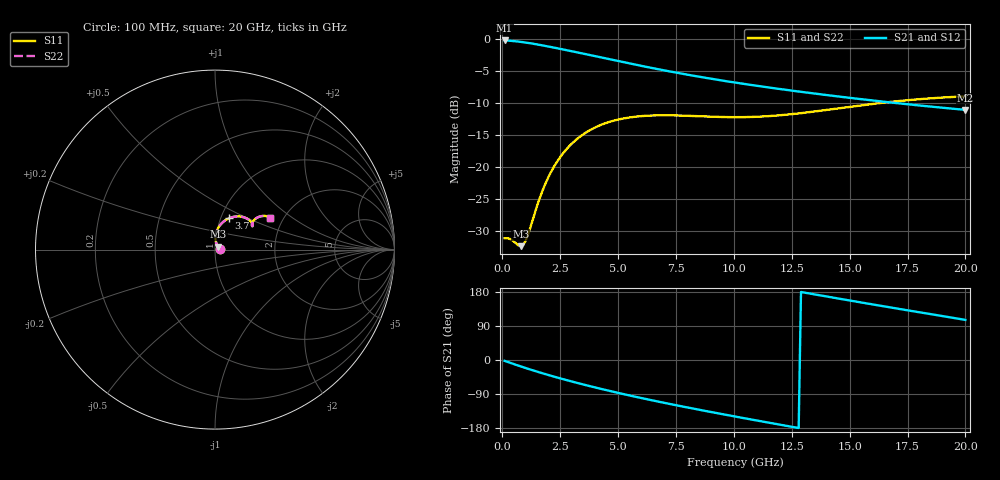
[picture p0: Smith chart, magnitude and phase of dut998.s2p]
! Touchstone file exported from HFSS 2024.1.0
!  File:  C:/UserFiles/LocalFiles/RDL_TSV_Batchsim/temp_RDL_TSV_998_1779977279.aedt
!  Generated:  10:21:41 PM May 28, 2026
!  Design:  RDL_TSV
!  Project:  temp_RDL_TSV_998_1779977279
!  Setup:  Setup1
!  Solution:  Sweep
! Variables:
!  dtsv = 14.99um
!  hbump = 3um
!  htsv = 68.45um
!  ldown = 451.41um
!  lrdl = 545.39um
!  p = 40
!  p1 = 43.12um
!  rhole = 10um
!  subl = 3535.79um
!  t = 450um
!  tdown = 4.27um
!  trdl = 2.32um
!  viad = 10um
!  wdown = 10.8um
!  wrdl = 18.3um
!  xbump = 18um
# GHz S MA R 50.000000
! Terminal data exported
! Port[1] = TM1_1_T1
! Port[2] = TM1_4_T1
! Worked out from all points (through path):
!   200 points, 100 MHz to 20 GHz, reference 50 ohm
!   highest |S21| = -0.25 dB at 100 MHz (marker M1); lowest = -11.1 dB at 20 GHz (marker M2)
!   group delay of S21, straight-line fit = 33.5 ps
!   lowest |S11| = -32.3 dB at 800 MHz (marker M3), VSWR 1.05, Z = 51.9 + j1.6 ohm
!   |S11| at or under -10 dB: start of sweep to 16.33 GHz
!   |S22| runs from -32.3 to -9.0 dB; largest |S21 - S12| = 6.9e-15
!   S11 on the Smith chart (normalised r, x): 100 MHz: 1.06, +0.00; 3.7 GHz: 1.09, +0.39; 20 GHz: 1.71, +0.70
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0.1  0.02797 3.7  0.9715 -2.2  0.9715 -2.2  0.02797 3.7
! Gamma 0 0 0 0
! Port Impedance 50 0 50 0
0.4  0.0272 14.1  0.9644 -8.7  0.9644 -8.7  0.0272 14.1
0.8  0.02424 39.5  0.9473 -17.0  0.9473 -17.0  0.02424 39.5
1  0.02648 59.1  0.9365 -21.0  0.9365 -21.0  0.02646 58.9
1.7  0.06304 87.8  0.8917 -34.4  0.8917 -34.4  0.06291 87.7
1.9  0.07709 87.8  0.8779 -38.0  0.8779 -38.0  0.07693 87.7
2.2  0.09863 85.6  0.8568 -43.3  0.8568 -43.3  0.09844 85.5
2.8  0.1399 78.2  0.8147 -53.5  0.8147 -53.5  0.1396 78.2
3.5  0.1806 68.8  0.7666 -64.7  0.7666 -64.7  0.1803 68.7
3.7  0.1904 66.2  0.7532 -67.8  0.7532 -67.8  0.1901 66.1
4.4  0.2184 57.7  0.708 -78.2  0.708 -78.2  0.218 57.7
5.3  0.2409 48.6  0.6542 -90.9  0.6542 -90.9  0.2405 48.6
6  0.2499 43.0  0.6161 -100.3  0.6161 -100.3  0.2494 43.0
6.8  0.2536 38.1  0.5767 -110.6  0.5767 -110.6  0.2531 38.0
8.4  0.2499 32.7  0.5105 -130.1  0.5105 -130.1  0.2494 32.7
10.1  0.2453 32.4  0.4551 -149.7  0.4551 -149.7  0.2447 32.4
11.7  0.2513 34.8  0.4132 -167.5  0.4132 -167.5  0.2508 34.8
13.4  0.2704 36.9  0.3763 174.0  0.3763 174.0  0.27 36.9
15.1  0.2969 37.1  0.3453 156.0  0.3453 156.0  0.2964 37.1
16.7  0.3217 35.6  0.3204 139.3  0.3204 139.3  0.3211 35.6
18.3  0.3419 33.0  0.299 123.0  0.299 123.0  0.3413 33.0
20  0.3563 29.9  0.2797 105.9  0.2797 105.9  0.3557 29.9
